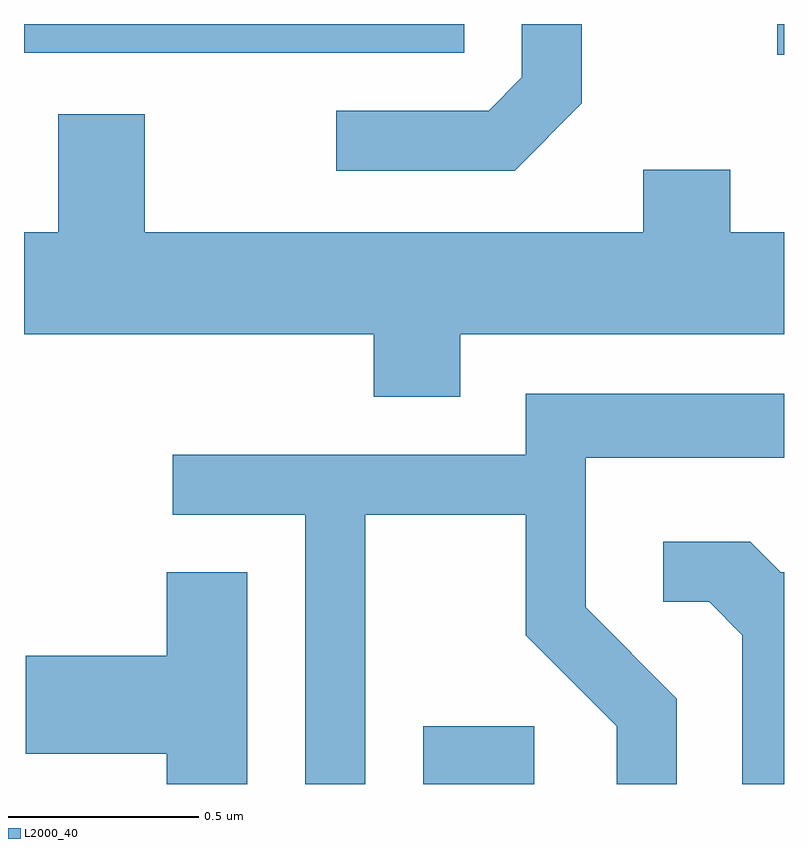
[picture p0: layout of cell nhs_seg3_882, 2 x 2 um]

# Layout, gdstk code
import gdstk
lib = gdstk.Library(unit=1e-6, precision=1e-09)
def R(c, l, rs):  # rectangles x0, y0, x1, y1
    for r in rs: c.add(gdstk.rectangle(r[:2], r[2:], *l))
def P(c, l, *ps):  # polygons
    for p in ps: c.add(gdstk.Polygon(p, *l))
L2000_40 = (2000, 40)

nhs_seg3_882 = lib.new_cell('nhs_seg3_882')
R(nhs_seg3_882, L2000_40, [(192.661,1175.892,192.954,1176.044), (193.593,1177.811,193.611,1177.892), (191.611,1177.816,192.769,1177.892)])
P(nhs_seg3_882, L2000_40, [(193.079,1177.684),(193.079,1177.892),(192.921,1177.892),(192.921,1177.752),(192.834,1177.664),(192.433,1177.664),(192.433,1177.506),(192.902,1177.506)],
  [(192.759,1177.076),(193.611,1177.076),(193.611,1177.344),(193.469,1177.344),(193.469,1177.509),(193.241,1177.509),(193.241,1177.344),(191.929,1177.344),(191.929,1177.654),(191.701,1177.654),(191.701,1177.344),(191.611,1177.344),(191.611,1177.076),(192.531,1177.076),(192.531,1176.911),(192.759,1176.911)],
  [(192.509,1176.601),(192.931,1176.601),(192.931,1176.284),(193.171,1176.044),(193.171,1175.892),(193.329,1175.892),(193.329,1176.117),(193.089,1176.357),(193.089,1176.751),(193.611,1176.751),(193.611,1176.919),(192.931,1176.919),(192.931,1176.759),(192.003,1176.759),(192.003,1176.601),(192.351,1176.601),(192.351,1175.892),(192.509,1175.892)],
  [(193.611,1176.449),(193.602,1176.449),(193.522,1176.529),(193.293,1176.529),(193.293,1176.371),(193.414,1176.371),(193.501,1176.284),(193.501,1175.892),(193.611,1175.892)],
  [(192.199,1176.449),(191.986,1176.449),(191.986,1176.229),(191.616,1176.229),(191.616,1175.971),(191.986,1175.971),(191.986,1175.892),(192.199,1175.892)])

lib.write_gds('nhs_seg3_882.gds')
